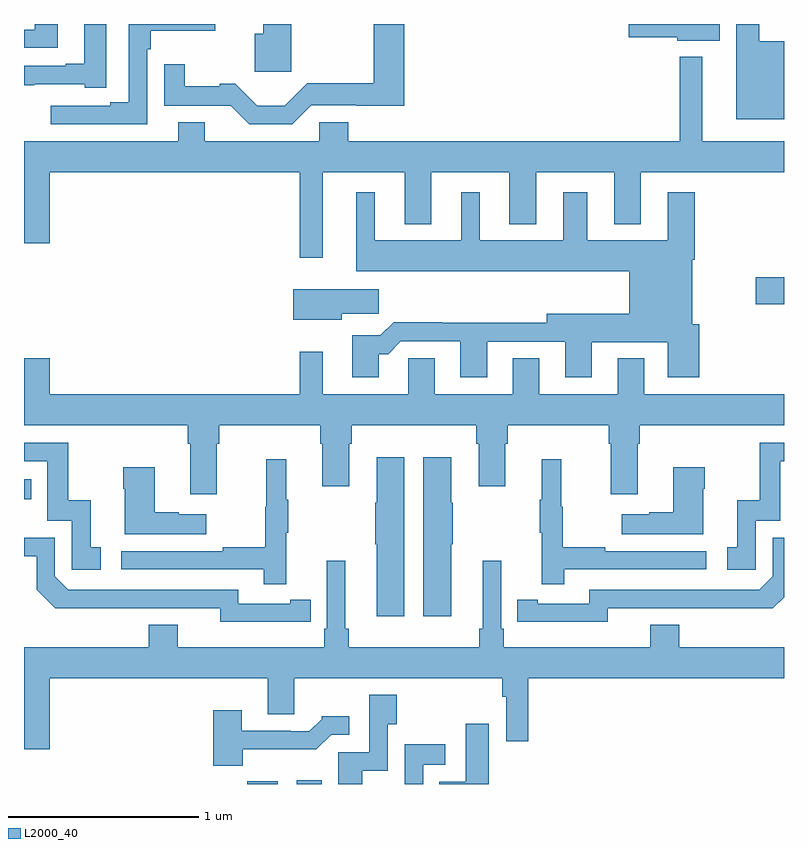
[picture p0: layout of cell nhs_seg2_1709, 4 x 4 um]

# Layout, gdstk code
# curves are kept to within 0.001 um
import gdstk
lib = gdstk.Library(unit=1e-6, precision=1e-09)
def R(c, l, rs):  # rectangles x0, y0, x1, y1
    for r in rs: c.add(gdstk.rectangle(r[:2], r[2:], *l))
def P(c, l, *ps):  # polygons
    for p in ps: c.add(gdstk.Polygon(p, *l))
L2000_40 = (2000, 40)

nhs_seg2_1709 = lib.new_cell('nhs_seg2_1709')
R(nhs_seg2_1709, L2000_40, [(202.174,593.8,202.336,593.815), (202.436,593.8,202.567,593.821), (201,595.299,201.038,595.405), (204.852,596.326,205,596.468)])
P(nhs_seg2_1709, L2000_40, [(205,597.709),(204.871,597.709),(204.871,597.8),(204.749,597.8),(204.749,597.299),(205,597.299)],
  [(202.407,597.8),(202.259,597.8),(202.259,597.749),(202.214,597.749),(202.214,597.548),(202.407,597.548)],
  [(201.433,597.8),(201.317,597.8),(201.317,597.592),(201.221,597.592),(201.221,597.579),(201,597.579),(201,597.478),(201.053,597.478),(201.053,597.483),(201.321,597.483),(201.321,597.465),(201.433,597.465)],
  [(201.648,597.668),(201.668,597.668),(201.668,597.764),(202.006,597.764),(202.006,597.8),(201.552,597.8),(201.552,597.387),(201.455,597.387),(201.455,597.369),(201.141,597.369),(201.141,597.273),(201.648,597.273)],
  [(201.178,597.8),(201.057,597.8),(201.057,597.771),(201,597.771),(201,597.675),(201.178,597.675)],
  [(204.661,597.8),(204.182,597.8),(204.182,597.731),(204.438,597.731),(204.438,597.713),(204.661,597.713)],
  [(202.512,597.372),(203,597.371),(203,597.8),(202.84,597.8),(202.84,597.488),(202.49,597.488),(202.372,597.37),(202.227,597.37),(202.112,597.485),(202.031,597.485),(202.031,597.473),(201.847,597.473),(201.847,597.589),(201.738,597.589),(201.738,597.371),(202.088,597.371),(202.185,597.273),(202.413,597.273)],
  [(202.573,597.02),(203.003,597.02),(203.003,596.747),(203.143,596.747),(203.143,597.02),(203.555,597.02),(203.555,596.747),(203.695,596.747),(203.695,597.02),(204.107,597.02),(204.107,596.747),(204.247,596.747),(204.247,597.02),(205,597.02),(205,597.184),(204.571,597.184),(204.571,597.628),(204.45,597.628),(204.45,597.184),(202.706,597.184),(202.706,597.282),(202.554,597.282),(202.554,597.184),(201.952,597.184),(201.952,597.283),(201.812,597.283),(201.812,597.184),(201,597.184),(201,596.646),(201.136,596.646),(201.136,597.02),(202.452,597.02),(202.452,596.571),(202.573,596.571)],
  [(202.867,596.063),(202.916,596.063),(202.983,596.13),(203.297,596.13),(203.297,595.941),(203.437,595.941),(203.437,596.127),(203.849,596.127),(203.849,595.941),(203.989,595.941),(203.989,596.126),(204.389,596.126),(204.389,595.941),(204.554,595.941),(204.554,596.22),(204.517,596.22),(204.517,596.558),(204.53,596.558),(204.53,596.914),(204.389,596.914),(204.389,596.662),(203.965,596.662),(203.965,596.914),(203.837,596.914),(203.837,596.662),(203.398,596.662),(203.398,596.914),(203.3,596.914),(203.3,596.662),(202.846,596.662),(202.846,596.914),(202.748,596.914),(202.748,596.498),(204.185,596.498),(204.185,596.275),(203.75,596.275),(203.75,596.228),(203.201,596.228),(203.201,596.231),(202.946,596.231),(202.876,596.161),(202.727,596.161),(202.727,595.941),(202.867,595.941)],
  [(202.672,596.275),(202.867,596.275),(202.867,596.404),(202.418,596.404),(202.418,596.243),(202.672,596.243)],
  [(202.015,595.592),(202.028,595.592),(202.028,595.688),(202.559,595.688),(202.559,595.592),(202.571,595.592),(202.571,595.368),(202.711,595.368),(202.711,595.592),(202.724,595.592),(202.724,595.688),(203.381,595.688),(203.381,595.592),(203.393,595.592),(203.393,595.368),(203.533,595.368),(203.533,595.592),(203.546,595.592),(203.546,595.688),(204.077,595.688),(204.077,595.592),(204.089,595.592),(204.089,595.326),(204.229,595.326),(204.229,595.592),(204.242,595.592),(204.242,595.688),(205,595.688),(205,595.852),(204.265,595.852),(204.265,596.041),(204.125,596.041),(204.125,595.852),(203.713,595.852),(203.713,596.042),(203.573,596.042),(203.573,595.852),(203.161,595.852),(203.161,596.042),(203.022,596.042),(203.022,595.852),(202.573,595.852),(202.573,596.074),(202.452,596.074),(202.452,595.852),(201.136,595.852),(201.136,596.041),(201,596.041),(201,595.688),(201.863,595.688),(201.863,595.592),(201.875,595.592),(201.875,595.326),(202.015,595.326)],
  [(201.403,595.047),(201.35,595.047),(201.35,595.294),(201.232,595.294),(201.232,595.596),(201,595.596),(201,595.5),(201.123,595.5),(201.123,595.185),(201.252,595.185),(201.252,594.927),(201.403,594.927)],
  [(204.852,595.185),(204.981,595.185),(204.981,595.5),(205,595.5),(205,595.596),(204.873,595.596),(204.873,595.294),(204.755,595.294),(204.755,595.047),(204.702,595.047),(204.702,594.927),(204.852,594.927)],
  [(203.002,595.519),(202.856,595.519),(202.856,595.28),(202.849,595.28),(202.849,595.063),(202.856,595.063),(202.856,594.684),(203.002,594.684)],
  [(203.248,595.063),(203.256,595.063),(203.256,595.28),(203.248,595.28),(203.248,595.519),(203.102,595.519),(203.102,594.684),(203.248,594.684)],
  [(202.379,595.123),(202.39,595.123),(202.39,595.297),(202.379,595.297),(202.379,595.51),(202.276,595.51),(202.276,595.26),(202.269,595.26),(202.269,595.046),(202.045,595.046),(202.045,595.026),(201.513,595.026),(201.513,594.93),(202.261,594.93),(202.261,594.852),(202.379,594.852)],
  [(203.843,594.93),(204.592,594.93),(204.592,595.026),(204.059,595.026),(204.059,595.046),(203.836,595.046),(203.836,595.26),(203.828,595.26),(203.828,595.51),(203.726,595.51),(203.726,595.297),(203.715,595.297),(203.715,595.123),(203.726,595.123),(203.726,594.852),(203.843,594.852)],
  [(201.958,595.219),(201.815,595.219),(201.815,595.229),(201.688,595.229),(201.688,595.468),(201.523,595.468),(201.523,595.355),(201.53,595.355),(201.53,595.115),(201.958,595.115)],
  [(204.574,595.355),(204.582,595.355),(204.582,595.468),(204.416,595.468),(204.416,595.229),(204.29,595.229),(204.29,595.219),(204.147,595.219),(204.147,595.115),(204.574,595.115)],
  [(204.072,594.726),(204.94,594.725),(205,594.784),(205,595.095),(204.942,595.095),(204.942,594.894),(204.87,594.822),(203.976,594.822),(203.976,594.75),(203.704,594.75),(203.704,594.77),(203.596,594.77),(203.596,594.654),(204.072,594.653)],
  [(202.4,594.654),(202.508,594.654),(202.508,594.77),(202.4,594.77),(202.4,594.75),(202.128,594.75),(202.128,594.822),(201.234,594.822),(201.162,594.894),(201.162,595.095),(201,595.095),(201,594.999),(201.066,594.999),(201.066,594.822),(201.164,594.725),(202.032,594.726),(202.032,594.653)],
  [(201.136,594.356),(202.283,594.356),(202.283,594.166),(202.423,594.166),(202.423,594.356),(203.518,594.356),(203.518,594.26),(203.538,594.26),(203.538,594.024),(203.654,594.024),(203.654,594.356),(205,594.356),(205,594.52),(204.449,594.52),(204.449,594.637),(204.296,594.637),(204.296,594.52),(203.525,594.52),(203.525,594.616),(203.511,594.616),(203.511,594.976),(203.414,594.976),(203.414,594.616),(203.395,594.616),(203.395,594.52),(202.709,594.52),(202.709,594.616),(202.69,594.616),(202.69,594.976),(202.593,594.976),(202.593,594.616),(202.58,594.616),(202.58,594.52),(201.808,594.52),(201.808,594.637),(201.656,594.637),(201.656,594.52),(201,594.52),(201,593.982),(201.136,593.982)],
  [(202.78,593.87),(202.914,593.87),(202.914,594.115),(202.962,594.115),(202.962,594.271),(202.818,594.271),(202.818,593.967),(202.655,593.967),(202.655,593.8),(202.78,593.8)],
  [(202.15,593.982),(202.539,593.982),(202.617,594.06),(202.711,594.06),(202.711,594.157),(202.566,594.157),(202.566,594.142),(202.502,594.078),(202.403,594.078),(202.403,594.081),(202.147,594.081),(202.147,594.187),(201.995,594.187),(201.995,593.897),(202.15,593.897)],
  [(203.446,594.118),(203.324,594.118),(203.324,593.812),(203.185,593.812),(203.185,593.8),(203.446,593.8)],
  [(203.1,593.901),(203.218,593.901),(203.218,594.01),(203.004,594.01),(203.004,593.8),(203.1,593.8)])

lib.write_gds('nhs_seg2_1709.gds')
